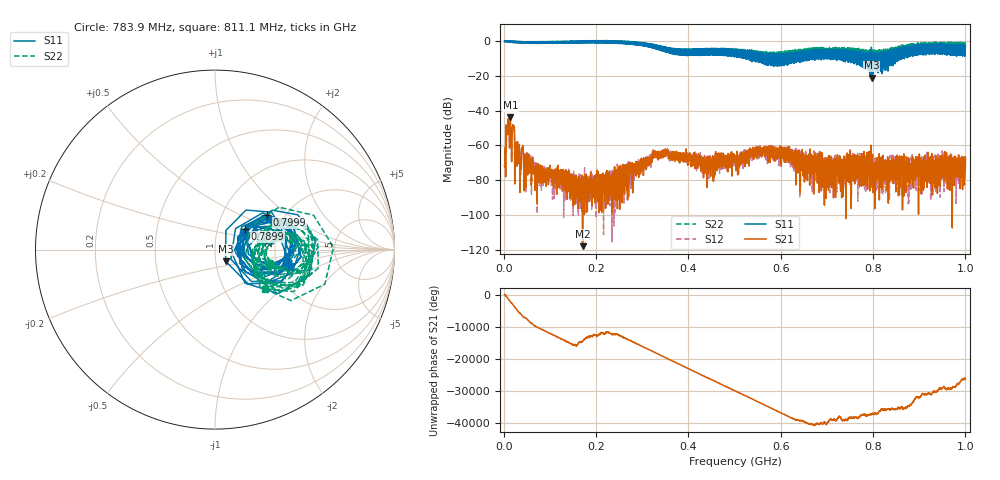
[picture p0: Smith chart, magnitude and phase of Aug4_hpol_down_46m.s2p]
!Keysight Technologies N9923A: A.12.45
!Date: Tuesday, 05 August 2025 19:11:35
!Timezone: (UTC+08:00) Kuala Lumpur, Singapore
!Model: N9923A
!Serial: MY61181427
!GPS Latitude:
!GPS Longitude:
!GPS TimeStamp: 0001-01-01 00:00:00Z
!GPS Seconds Since Last Read: 0
!CHECKSUM:1041456947
!Correction: S11(ON U)S21(ON U)S12(ON U)S22(ON U)
!S2P File: Measurements:S11,S21,S12,S22:
# Hz S DB R 50
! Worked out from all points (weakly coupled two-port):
!   4001 points, 2 MHz to 1 GHz, reference 50 ohm
!   highest |S21| = -43.89 dB at 14.47 MHz (marker M1); lowest = -117.8 dB at 170.9 MHz (marker M2)
!   lowest |S11| = -21.1 dB at 796.9 MHz (marker M3), VSWR 1.19, Z = 55.8 - j7.31 ohm
!   |S11| at or under -10 dB: 575.8159 MHz to 576.6036 MHz (787.6 kHz wide, 0.137 % of centre); 582.5617 MHz to 583.3592 MHz (797.5 kHz wide, 0.137 % of centre); 589.3151 MHz to 590.1167 MHz (801.6 kHz wide, 0.136 % of centre)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
!   |S22| runs from -15.1 to 0.2 dB; largest |S21 - S12| = 0.0011
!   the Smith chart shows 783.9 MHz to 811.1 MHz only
!   S11 on the Smith chart (normalised r, x): 783.9 MHz: 2.30, -0.37; 789.9 MHz: 1.36, +0.33; 799.9 MHz: 1.63, +0.71; 811.1 MHz: 2.36, -0.54
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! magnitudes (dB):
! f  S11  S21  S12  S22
! 2 MHz  -0.1  -71.2  -70.9  -0.1
! 9.735 MHz  -0.2  -45.4  -45.3  -0.1
! 14.47 MHz  -0.6  -43.9  -43.8  -0.5
! 18.72 MHz  -0.4  -52.9  -52.7  -0.4
! 32.94 MHz  -0.8  -61.0  -62.0  -0.8
! 68.87 MHz  -0.7  -78.1  -78.2  -0.6
! 168.4 MHz  -1.2  -83.1  -96.5  -1.0
! 170.9 MHz  -0.1  -117.8  -80.8  0.0
! 259 MHz  -1.6  -86.3  -79.2  -1.2
! 334.8 MHz  -3.8  -63.3  -66.5  -4.6
! 441.9 MHz  -6.8  -74.6  -75.6  -7.5
! 501 MHz  -5.7  -66.3  -69.1  -6.5
! 561.9 MHz  -6.9  -64.3  -63.4  -6.9
! 667.4 MHz  -8.8  -66.7  -70.2  -8.7
! 783.9 MHz  -7.8  -82.2  -87.2  -9.9
! 789.9 MHz  -13.8  -66.5  -75.2  -6.1
! 796.9 MHz  -21.1  -78.6  -73.1  -7.4
! 799.9 MHz  -9.1  -81.6  -64.7  -5.2
! 811.1 MHz  -7.3  -79.1  -80.4  -9.0
! 833.8 MHz  -10.5  -71.1  -71.0  -5.4
! 990.8 MHz  -8.0  -68.6  -70.7  -3.8
! 1 GHz  -2.5  -66.8  -67.1  -2.3
